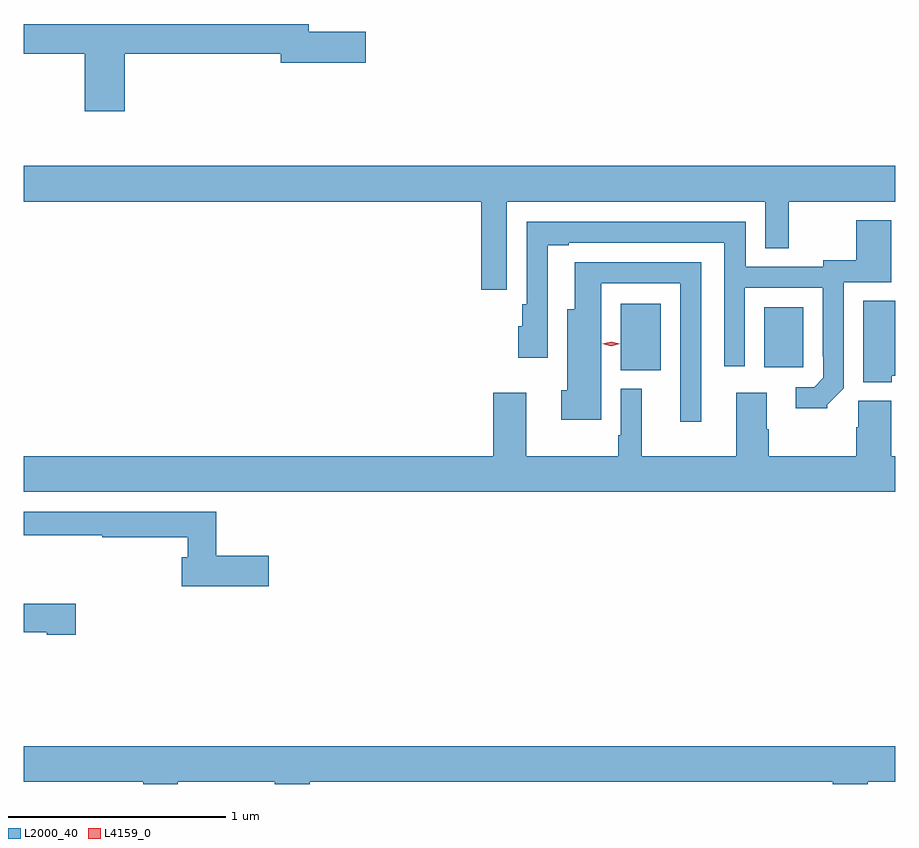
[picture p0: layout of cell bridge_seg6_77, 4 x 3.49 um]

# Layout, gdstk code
import gdstk
lib = gdstk.Library(unit=1e-6, precision=1e-09)
def R(c, l, rs):  # rectangles x0, y0, x1, y1
    for r in rs: c.add(gdstk.rectangle(r[:2], r[2:], *l))
def P(c, l, *ps):  # polygons
    for p in ps: c.add(gdstk.Polygon(p, *l))
L2000_40 = (2000, 40)
L4159_0 = (4159, 0)

bridge_seg6_77 = lib.new_cell('bridge_seg6_77')
R(bridge_seg6_77, L2000_40, [(747.212,966.542,747.397,966.847), (747.872,966.555,748.051,966.832)])
P(bridge_seg6_77, L2000_40, [(744.935,967.996),(745.652,967.996),(745.652,967.954),(746.041,967.954),(746.041,968.096),(745.78,968.096),(745.78,968.132),(744.472,968.132),(744.472,967.996),(744.752,967.996),(744.752,967.731),(744.935,967.731)],
  [(746.688,967.316),(747.876,967.316),(747.876,967.102),(747.985,967.102),(747.985,967.316),(748.472,967.316),(748.472,967.48),(744.472,967.48),(744.472,967.316),(746.572,967.316),(746.572,966.912),(746.688,966.912)],
  [(748.161,966.384),(748.236,966.459),(748.236,966.945),(748.454,966.945),(748.454,967.231),(748.294,967.231),(748.294,967.046),(748.143,967.046),(748.143,967.017),(747.787,967.017),(747.787,967.224),(746.781,967.224),(746.781,966.844),(746.761,966.844),(746.761,966.744),(746.741,966.744),(746.741,966.6),(746.877,966.6),(746.877,967.116),(746.974,967.116),(746.974,967.128),(747.687,967.128),(747.687,966.561),(747.783,966.561),(747.783,966.921),(748.14,966.921),(748.14,966.607),(748.143,966.607),(748.143,966.507),(748.101,966.465),(748.017,966.465),(748.017,966.367),(748.161,966.367)],
  [(747.582,967.038),(747.002,967.038),(747.002,966.823),(746.966,966.823),(746.966,966.45),(746.939,966.45),(746.939,966.314),(747.124,966.314),(747.124,966.942),(747.486,966.942),(747.486,966.306),(747.582,966.306)],
  [(748.458,966.516),(748.472,966.516),(748.472,966.86),(748.325,966.86),(748.325,966.488),(748.458,966.488)],
  [(747.883,966.272),(747.883,966.439),(747.743,966.439),(747.743,966.148),(747.31,966.148),(747.31,966.457),(747.213,966.457),(747.213,966.244),(747.201,966.244),(747.201,966.148),(746.779,966.148),(746.779,966.439),(746.627,966.439),(746.627,966.148),(744.472,966.148),(744.472,965.984),(748.472,965.984),(748.472,966.148),(748.454,966.148),(748.454,966.403),(748.302,966.403),(748.302,966.281),(748.294,966.281),(748.294,966.148),(747.891,966.148),(747.891,966.272)],
  [(745.597,965.691),(745.355,965.691),(745.355,965.892),(744.472,965.892),(744.472,965.784),(744.831,965.784),(744.831,965.776),(745.223,965.776),(745.223,965.683),(745.196,965.683),(745.196,965.549),(745.597,965.549)],
  [(744.709,965.469),(744.472,965.469),(744.472,965.339),(744.576,965.339),(744.576,965.327),(744.709,965.327)],
  [(745.179,964.652),(745.624,964.652),(745.624,964.642),(745.784,964.642),(745.784,964.652),(748.187,964.652),(748.187,964.642),(748.347,964.642),(748.347,964.652),(748.472,964.652),(748.472,964.816),(744.472,964.816),(744.472,964.652),(745.019,964.652),(745.019,964.642),(745.179,964.642)])
P(bridge_seg6_77, L4159_0, [(747.168,966.653),(747.128,966.663),(747.128,966.663),(747.128,966.663),(747.168,966.673),(747.208,966.663),(747.209,966.663),(747.208,966.663)])

lib.write_gds('bridge_seg6_77.gds')
